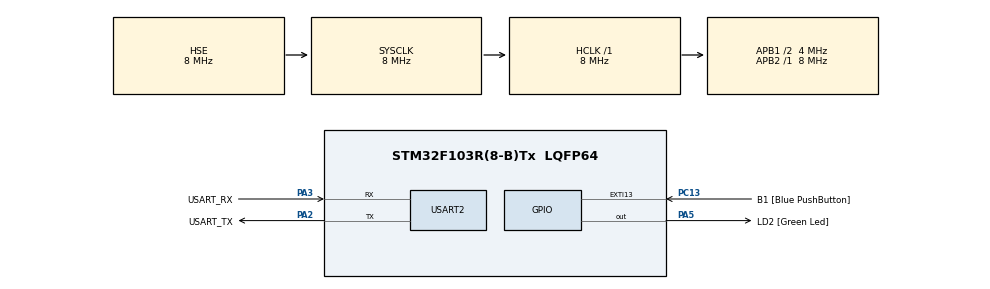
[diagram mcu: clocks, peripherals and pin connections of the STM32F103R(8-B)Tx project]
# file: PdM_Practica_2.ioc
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Mcu.Family=STM32F1
Mcu.Name=STM32F103R(8-B)Tx
Mcu.Package=LQFP64
NVIC.EXTI15_10_IRQn=true\:0\:0\:false\:false\:true\:true\:true\:true
NVIC.PriorityGroup=NVIC_PRIORITYGROUP_4
PA13.GPIO_Label=TMS
PA13.Mode=Serial_Wire
PA13.Signal=SYS_JTMS-SWDIO
PA14.GPIO_Label=TCK
PA14.Mode=Serial_Wire
PA14.Signal=SYS_JTCK-SWCLK
PA2.GPIO_Label=USART_TX
PA2.GPIO_Mode=GPIO_MODE_AF_PP
PA2.GPIO_PuPd=GPIO_NOPULL
PA2.GPIO_Speed=GPIO_SPEED_FREQ_LOW
PA2.Mode=Asynchronous
PA2.Signal=USART2_TX
PA3.GPIO_Label=USART_RX
PA3.GPIO_Mode=GPIO_MODE_AF_PP
PA3.GPIO_PuPd=GPIO_NOPULL
PA3.GPIO_Speed=GPIO_SPEED_FREQ_LOW
PA3.Mode=Asynchronous
PA3.Signal=USART2_RX
PA5.GPIO_Label=LD2 [Green Led]
PA5.GPIO_ModeDefaultOutputPP=GPIO_MODE_OUTPUT_PP
PA5.GPIO_PuPd=GPIO_NOPULL
PA5.GPIO_Speed=GPIO_SPEED_FREQ_LOW
PA5.Signal=GPIO_Output
PB3.GPIO_Label=SWO
PB3.Signal=SYS_JTDO-TRACESWO
PC13-TAMPER-RTC.GPIO_Label=B1 [Blue PushButton]
PC13-TAMPER-RTC.GPIO_PuPd=GPIO_NOPULL
PC13-TAMPER-RTC.Signal=GPXTI13
PC14-OSC32_IN.Mode=LSE-External-Oscillator
PC14-OSC32_IN.Signal=RCC_OSC32_IN
PC15-OSC32_OUT.Mode=LSE-External-Oscillator
PC15-OSC32_OUT.Signal=RCC_OSC32_OUT
PD0-OSC_IN.Mode=HSE-External-Clock-Source
PD0-OSC_IN.Signal=RCC_OSC_IN
PD1-OSC_OUT.Mode=HSE-External-Clock-Source
PD1-OSC_OUT.Signal=RCC_OSC_OUT
ProjectManager.HeapSize=0x200
ProjectManager.StackSize=0x400
ProjectManager.TargetToolchain=STM32CubeIDE
RCC.AHBFreq_Value=8000000
RCC.APB1CLKDivider=RCC_HCLK_DIV2
RCC.APB1Freq_Value=4000000
RCC.APB1TimFreq_Value=8000000
RCC.APB2Freq_Value=8000000
RCC.APB2TimFreq_Value=8000000
RCC.HCLKFreq_Value=8000000
RCC.PLLMUL=RCC_PLL_MUL16
RCC.RTCClockSelection=RCC_RTCCLKSOURCE_LSE
RCC.SYSCLKFreq_VALUE=8000000
RCC.SYSCLKSource=RCC_SYSCLKSOURCE_HSE
RCC.USBFreq_Value=64000000
USART2.VirtualMode=VM_ASYNC
board=NUCLEO-F103RB

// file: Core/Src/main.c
/* USER CODE BEGIN Header */
/**
  ******************************************************************************
  * @file           : main.c
  * @brief          : Main program body
  ******************************************************************************
  * @attention
  *
  * Copyright (c) 2023 STMicroelectronics.
  * All rights reserved.
  *
  * This software is licensed under terms that can be found in the LICENSE file
  * in the root directory of this software component.
  * If no LICENSE file comes with this software, it is provided AS-IS.
  *
  ******************************************************************************
  */
/* USER CODE END Header */
#include "main.h"

UART_HandleTypeDef huart2;

/* USER CODE BEGIN PV */
delay_t delayHandle; // declarar variable tipo delay_t p/manejar delay

/* USER CODE END PV */

void SystemClock_Config(void);
static void MX_GPIO_Init(void);
static void MX_USART2_UART_Init(void);

int main(void)
{

  /* MCU Configuration--------------------------------------------------------*/

  /* Reset of all peripherals, Initializes the Flash interface and the Systick. */
  HAL_Init();

  /* USER CODE BEGIN Init */

  delayInit(&delayHandle, 100); // inicializar configuracion de delay de 100 ms. Pasar variable por referencia $var

  /* USER CODE END Init */

  /* Configure the system clock */
  SystemClock_Config();

  /* Initialize all configured peripherals */
  MX_GPIO_Init();
  MX_USART2_UART_Init();
  /* USER CODE BEGIN 2 */
  HAL_GPIO_WritePin(LD2_GPIO_Port, LD2_Pin, SET); // iniciar con LED encendido
  HAL_Delay(250); // mantener x 250 ms solo para verificar inicio
  /* USER CODE END 2 */

  /* Infinite loop */
  while (1)
  {
	  if(delayRead(&delayHandle) == true){ // si timeout cambiar estado del LED
		  HAL_GPIO_TogglePin(LD2_GPIO_Port, LD2_Pin);
	  }

  }
}

void SystemClock_Config(void)
{
  RCC_OscInitTypeDef RCC_OscInitStruct = {0};
  RCC_ClkInitTypeDef RCC_ClkInitStruct = {0};

  /** Initializes the RCC Oscillators according to the specified parameters
  * in the RCC_OscInitTypeDef structure.
  */
  RCC_OscInitStruct.OscillatorType = RCC_OSCILLATORTYPE_HSE;
  RCC_OscInitStruct.HSEState = RCC_HSE_BYPASS;
  RCC_OscInitStruct.PLL.PLLState = RCC_PLL_NONE;
  if (HAL_RCC_OscConfig(&RCC_OscInitStruct) != HAL_OK)
  {
    Error_Handler();
  }

  /** Initializes the CPU, AHB and APB buses clocks
  */
  RCC_ClkInitStruct.ClockType = RCC_CLOCKTYPE_HCLK|RCC_CLOCKTYPE_SYSCLK
                              |RCC_CLOCKTYPE_PCLK1|RCC_CLOCKTYPE_PCLK2;
  RCC_ClkInitStruct.SYSCLKSource = RCC_SYSCLKSOURCE_HSE;
  RCC_ClkInitStruct.AHBCLKDivider = RCC_SYSCLK_DIV1;
  RCC_ClkInitStruct.APB1CLKDivider = RCC_HCLK_DIV2;
  RCC_ClkInitStruct.APB2CLKDivider = RCC_HCLK_DIV1;

  if (HAL_RCC_ClockConfig(&RCC_ClkInitStruct, FLASH_LATENCY_0) != HAL_OK)
  {
    Error_Handler();
  }
}

static void MX_USART2_UART_Init(void)
{

  huart2.Instance = USART2;
  huart2.Init.BaudRate = 115200;
  huart2.Init.WordLength = UART_WORDLENGTH_8B;
  huart2.Init.StopBits = UART_STOPBITS_1;
  huart2.Init.Parity = UART_PARITY_NONE;
  huart2.Init.Mode = UART_MODE_TX_RX;
  huart2.Init.HwFlowCtl = UART_HWCONTROL_NONE;
  huart2.Init.OverSampling = UART_OVERSAMPLING_16;
  if (HAL_UART_Init(&huart2) != HAL_OK)
  {
    Error_Handler();
  }

}

static void MX_GPIO_Init(void)
{
  GPIO_InitTypeDef GPIO_InitStruct = {0};

  /* GPIO Ports Clock Enable */
  __HAL_RCC_GPIOC_CLK_ENABLE();
  __HAL_RCC_GPIOD_CLK_ENABLE();
  __HAL_RCC_GPIOA_CLK_ENABLE();
  __HAL_RCC_GPIOB_CLK_ENABLE();

  /*Configure GPIO pin Output Level */
  HAL_GPIO_WritePin(LD2_GPIO_Port, LD2_Pin, GPIO_PIN_RESET);

  /*Configure GPIO pin : B1_Pin */
  GPIO_InitStruct.Pin = B1_Pin;
  GPIO_InitStruct.Mode = GPIO_MODE_IT_RISING;
  GPIO_InitStruct.Pull = GPIO_NOPULL;
  HAL_GPIO_Init(B1_GPIO_Port, &GPIO_InitStruct);

  /*Configure GPIO pin : LD2_Pin */
  GPIO_InitStruct.Pin = LD2_Pin;
  GPIO_InitStruct.Mode = GPIO_MODE_OUTPUT_PP;
  GPIO_InitStruct.Pull = GPIO_NOPULL;
  GPIO_InitStruct.Speed = GPIO_SPEED_FREQ_LOW;
  HAL_GPIO_Init(LD2_GPIO_Port, &GPIO_InitStruct);

  /* EXTI interrupt init*/
  HAL_NVIC_SetPriority(EXTI15_10_IRQn, 0, 0);
  HAL_NVIC_EnableIRQ(EXTI15_10_IRQn);

}

/* USER CODE BEGIN 4 */
/*---------------------------------------------------------------------------------------*/

/**
	* @brief Inicializacion del temporizador
	* @param delay struct {startTime, duration, running}
	* @retval Ninguno
	*/
void delayInit( delay_t * delay, tick_t duration ){
	delay->duration = duration;
	delay->running = false;
}

/**
	* @brief Comparacion de delay vs contador milisegundos. Inicia timer si no esta en func
	* @param delay struct {startTime, duration, running}
	* @retval bool true si se cumplio el tiempo / false si no
	*/
bool_t delayRead( delay_t * delay ){

	if(delay->running == false){ // activar timer
		delay->running = true;
		delay->startTime = HAL_GetTick(); // tomar valor de contador en [ms] actual
		return false; // salir de la funcion
	} else {
		// si running == true ya estaba activo el timer, comparar valor actual con duration
		if(HAL_GetTick() - delay->startTime > delay->duration){ // si es timeout
			delay->running = false; // reset el flag
			return true;
		} else {
			// si no es timeout
			return false;
		}
	}
}

/**
	* @brief Cambiar valor de duration
	* @param delay struct {startTime, duration, running}
	* @retval Ninguno
	*/
void delayWrite( delay_t * delay, tick_t duration ){
	delay->duration = duration;
}

/*---------------------------------------------------------------------------------------*/
/* USER CODE END 4 */

void Error_Handler(void)
{
  __disable_irq();
  while (1)
  {
  }
}
